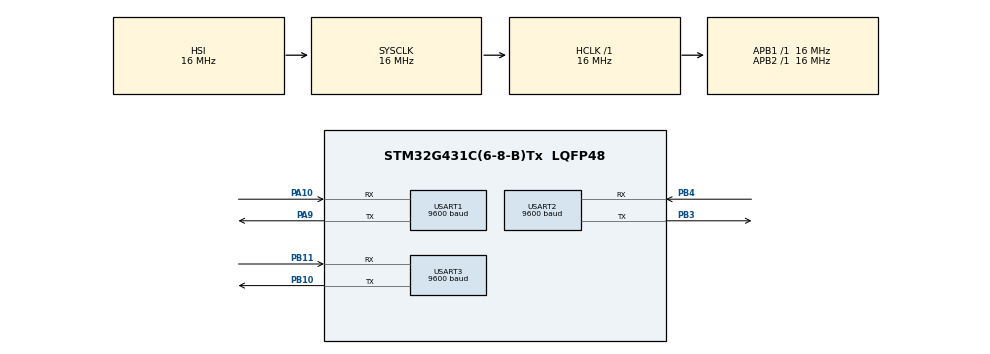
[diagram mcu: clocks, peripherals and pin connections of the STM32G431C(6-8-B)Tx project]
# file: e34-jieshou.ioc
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Mcu.Family=STM32G4
Mcu.Name=STM32G431C(6-8-B)Tx
Mcu.Package=LQFP48
NVIC.PriorityGroup=NVIC_PRIORITYGROUP_4
PA9.Mode=Asynchronous
PA9.Signal=USART1_TX
PA10.Mode=Asynchronous
PA10.Signal=USART1_RX
PB3.Mode=Asynchronous
PB3.Signal=USART2_TX
PB4.Mode=Asynchronous
PB4.Signal=USART2_RX
PB10.Mode=Asynchronous
PB10.Signal=USART3_TX
PB11.Mode=Asynchronous
PB11.Signal=USART3_RX
ProjectManager.HeapSize=0x200
ProjectManager.StackSize=0x400
ProjectManager.TargetToolchain=CMake
RCC.AHBFreq_Value=16000000
RCC.APB1Freq_Value=16000000
RCC.APB1TimFreq_Value=16000000
RCC.APB2Freq_Value=16000000
RCC.APB2TimFreq_Value=16000000
RCC.CortexFreq_Value=16000000
RCC.EXTERNAL_CLOCK_VALUE=12288000
RCC.HCLKFreq_Value=16000000
RCC.HSE_VALUE=8000000
RCC.HSI48_VALUE=48000000
RCC.HSI_VALUE=16000000
RCC.SYSCLKFreq_VALUE=16000000
USART1.BaudRate=9600
USART1.VirtualMode-Asynchronous=VM_ASYNC
USART2.BaudRate=9600
USART2.VirtualMode-Asynchronous=VM_ASYNC
USART3.BaudRate=9600
USART3.VirtualMode-Asynchronous=VM_ASYNC
VP_SYS_VS_DBSignals.Mode=DisableDeadBatterySignals
board=custom

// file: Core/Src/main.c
/* USER CODE BEGIN Header */
/**
  ******************************************************************************
  * @file           : main.c
  * @brief          : Main program body
  ******************************************************************************
  * @attention
  *
  * Copyright (c) 2026 STMicroelectronics.
  * All rights reserved.
  *
  * This software is licensed under terms that can be found in the LICENSE file
  * in the root directory of this software component.
  * If no LICENSE file comes with this software, it is provided AS-IS.
  *
  ******************************************************************************
  */
/* USER CODE END Header */
#include "main.h"
#include <stdint.h>
/* USER CODE BEGIN Includes */
#include "board.h"
#include "app.h"
#include "usb_device.h"
/* USER CODE END Includes */

UART_HandleTypeDef huart1;
UART_HandleTypeDef huart2;
UART_HandleTypeDef huart3;
DMA_HandleTypeDef hdma_usart1_rx;
DMA_HandleTypeDef hdma_usart2_rx;
DMA_HandleTypeDef hdma_usart3_rx;

void SystemClock_Config(void);
static void MX_GPIO_Init(void);
static void MX_USART1_UART_Init(void);
static void MX_USART2_UART_Init(void);
static void MX_USART3_UART_Init(void);

int main(void)
{

  /* MCU Configuration--------------------------------------------------------*/

  /* Reset of all peripherals, Initializes the Flash interface and the Systick. */
  HAL_Init();

  /* Configure the system clock */
  SystemClock_Config();

  /* Initialize all configured peripherals */
  MX_GPIO_Init();
  /* I2C2 is deliberately not initialized: PA9=USART1_TX, PA8=E22-1 AUX. */
  __HAL_RCC_DMA1_CLK_ENABLE();
  __HAL_RCC_DMA2_CLK_ENABLE();
  __HAL_RCC_DMAMUX1_CLK_ENABLE();
  MX_USART1_UART_Init();
  MX_USART2_UART_Init();
  MX_USART3_UART_Init();
  /* USER CODE BEGIN 2 */
  /* USB init failure must not stop E22 RX or the 300 ms failsafe. */
  MX_USB_DEVICE_Init();
  Board_Init();
  if (!App_Init())
  {
    Error_Handler();
  }
  /* USER CODE END 2 */

  /* Infinite loop */
  while (1)
  {

    /* USER CODE BEGIN 3 */
    App_Loop();
  }
  /* USER CODE END 3 */
}

void SystemClock_Config(void)
{
  RCC_OscInitTypeDef RCC_OscInitStruct = {0};
  RCC_ClkInitTypeDef RCC_ClkInitStruct = {0};

  /** Configure the main internal regulator output voltage
  */
  HAL_PWREx_ControlVoltageScaling(PWR_REGULATOR_VOLTAGE_SCALE1);

  /** Initializes the RCC Oscillators according to the specified parameters
  * in the RCC_OscInitTypeDef structure.
  */
  RCC_OscInitStruct.OscillatorType = RCC_OSCILLATORTYPE_HSI;
  RCC_OscInitStruct.HSIState = RCC_HSI_ON;
  RCC_OscInitStruct.HSICalibrationValue = RCC_HSICALIBRATION_DEFAULT;
  RCC_OscInitStruct.PLL.PLLState = RCC_PLL_NONE;
  if (HAL_RCC_OscConfig(&RCC_OscInitStruct) != HAL_OK)
  {
    Error_Handler();
  }

  /** Initializes the CPU, AHB and APB buses clocks
  */
  RCC_ClkInitStruct.ClockType = RCC_CLOCKTYPE_HCLK|RCC_CLOCKTYPE_SYSCLK
                              |RCC_CLOCKTYPE_PCLK1|RCC_CLOCKTYPE_PCLK2;
  RCC_ClkInitStruct.SYSCLKSource = RCC_SYSCLKSOURCE_HSI;
  RCC_ClkInitStruct.AHBCLKDivider = RCC_SYSCLK_DIV1;
  RCC_ClkInitStruct.APB1CLKDivider = RCC_HCLK_DIV1;
  RCC_ClkInitStruct.APB2CLKDivider = RCC_HCLK_DIV1;

  if (HAL_RCC_ClockConfig(&RCC_ClkInitStruct, FLASH_LATENCY_0) != HAL_OK)
  {
    Error_Handler();
  }
}

static void MX_USART1_UART_Init(void)
{

  huart1.Instance = USART1;
  huart1.Init.BaudRate = 9600;
  huart1.Init.WordLength = UART_WORDLENGTH_8B;
  huart1.Init.StopBits = UART_STOPBITS_1;
  huart1.Init.Parity = UART_PARITY_NONE;
  huart1.Init.Mode = UART_MODE_TX_RX;
  huart1.Init.HwFlowCtl = UART_HWCONTROL_NONE;
  huart1.Init.OverSampling = UART_OVERSAMPLING_16;
  huart1.Init.OneBitSampling = UART_ONE_BIT_SAMPLE_DISABLE;
  huart1.Init.ClockPrescaler = UART_PRESCALER_DIV1;
  /* PA9 is USART1_TX and PA10 is USART1_RX; no TX/RX swap is used. */
  huart1.AdvancedInit.AdvFeatureInit = UART_ADVFEATURE_NO_INIT;
  if (HAL_UART_Init(&huart1) != HAL_OK)
  {
    Error_Handler();
  }
  if (HAL_UARTEx_SetTxFifoThreshold(&huart1, UART_TXFIFO_THRESHOLD_1_8) != HAL_OK)
  {
    Error_Handler();
  }
  if (HAL_UARTEx_SetRxFifoThreshold(&huart1, UART_RXFIFO_THRESHOLD_1_8) != HAL_OK)
  {
    Error_Handler();
  }
  if (HAL_UARTEx_DisableFifoMode(&huart1) != HAL_OK)
  {
    Error_Handler();
  }

}

static void MX_USART2_UART_Init(void)
{
  huart2.Instance = USART2;
  huart2.Init.BaudRate = 9600;
  huart2.Init.WordLength = UART_WORDLENGTH_8B;
  huart2.Init.StopBits = UART_STOPBITS_1;
  huart2.Init.Parity = UART_PARITY_NONE;
  huart2.Init.Mode = UART_MODE_TX_RX;
  huart2.Init.HwFlowCtl = UART_HWCONTROL_NONE;
  huart2.Init.OverSampling = UART_OVERSAMPLING_16;
  huart2.Init.OneBitSampling = UART_ONE_BIT_SAMPLE_DISABLE;
  huart2.Init.ClockPrescaler = UART_PRESCALER_DIV1;
  huart2.AdvancedInit.AdvFeatureInit = UART_ADVFEATURE_NO_INIT;
  if (HAL_UART_Init(&huart2) != HAL_OK)
  {
    Error_Handler();
  }
  if (HAL_UARTEx_SetTxFifoThreshold(&huart2, UART_TXFIFO_THRESHOLD_1_8) != HAL_OK)
  {
    Error_Handler();
  }
  if (HAL_UARTEx_SetRxFifoThreshold(&huart2, UART_RXFIFO_THRESHOLD_1_8) != HAL_OK)
  {
    Error_Handler();
  }
  if (HAL_UARTEx_DisableFifoMode(&huart2) != HAL_OK)
  {
    Error_Handler();
  }
}

static void MX_USART3_UART_Init(void)
{
  huart3.Instance = USART3;
  huart3.Init.BaudRate = 9600;
  huart3.Init.WordLength = UART_WORDLENGTH_8B;
  huart3.Init.StopBits = UART_STOPBITS_1;
  huart3.Init.Parity = UART_PARITY_NONE;
  huart3.Init.Mode = UART_MODE_TX_RX;
  huart3.Init.HwFlowCtl = UART_HWCONTROL_NONE;
  huart3.Init.OverSampling = UART_OVERSAMPLING_16;
  huart3.Init.OneBitSampling = UART_ONE_BIT_SAMPLE_DISABLE;
  huart3.Init.ClockPrescaler = UART_PRESCALER_DIV1;
  huart3.AdvancedInit.AdvFeatureInit = UART_ADVFEATURE_NO_INIT;
  if (HAL_UART_Init(&huart3) != HAL_OK)
  {
    Error_Handler();
  }
  if (HAL_UARTEx_SetTxFifoThreshold(&huart3, UART_TXFIFO_THRESHOLD_1_8) != HAL_OK)
  {
    Error_Handler();
  }
  if (HAL_UARTEx_SetRxFifoThreshold(&huart3, UART_RXFIFO_THRESHOLD_1_8) != HAL_OK)
  {
    Error_Handler();
  }
  if (HAL_UARTEx_DisableFifoMode(&huart3) != HAL_OK)
  {
    Error_Handler();
  }
}

static void MX_GPIO_Init(void)
{
  /* USER CODE BEGIN MX_GPIO_Init_1 */
  GPIO_InitTypeDef GPIO_InitStruct = {0};
  __HAL_RCC_GPIOA_CLK_ENABLE();
  /* USER CODE END MX_GPIO_Init_1 */

  /* GPIO Ports Clock Enable */
  __HAL_RCC_GPIOB_CLK_ENABLE();

  /* USER CODE BEGIN MX_GPIO_Init_2 */
  /* 三路 E22：M0/M1 先写低再配成输出，上电即透传（M0=0, M1=0）。
   * 配置模式由 Board_RadioSetConfigMode 临时拉 M1。不要用 M0=M1=1。 */
  HAL_GPIO_WritePin(GPIOB,
                    M0_1_Pin | M1_1_Pin | M0_2_Pin | M1_2_Pin | M0_3_Pin | M1_3_Pin,
                    GPIO_PIN_RESET);

  GPIO_InitStruct.Pin = M0_1_Pin | M1_1_Pin | M0_2_Pin | M1_2_Pin | M0_3_Pin | M1_3_Pin;
  GPIO_InitStruct.Mode = GPIO_MODE_OUTPUT_PP;
  GPIO_InitStruct.Pull = GPIO_NOPULL;
  GPIO_InitStruct.Speed = GPIO_SPEED_FREQ_LOW;
  HAL_GPIO_Init(GPIOB, &GPIO_InitStruct);

  /* AUX 高=空闲可收发，低=忙。USART1 AUX=PA8，USART2 AUX=PB5，USART3 AUX=PB2。 */
  GPIO_InitStruct.Pin = AUX_1_Pin;
  GPIO_InitStruct.Mode = GPIO_MODE_INPUT;
  GPIO_InitStruct.Pull = GPIO_NOPULL;
  HAL_GPIO_Init(AUX_1_GPIO_Port, &GPIO_InitStruct);

  GPIO_InitStruct.Pin = AUX_2_Pin | AUX_3_Pin;
  HAL_GPIO_Init(GPIOB, &GPIO_InitStruct);

  /* PB3/PB4=USART2，PA9/PA10=USART1，PB10/PB11=USART3。I2C2 不初始化。 */
  /* USER CODE END MX_GPIO_Init_2 */
}

void Error_Handler(void)
{
  __disable_irq();
  while (1)
  {
  }
}
